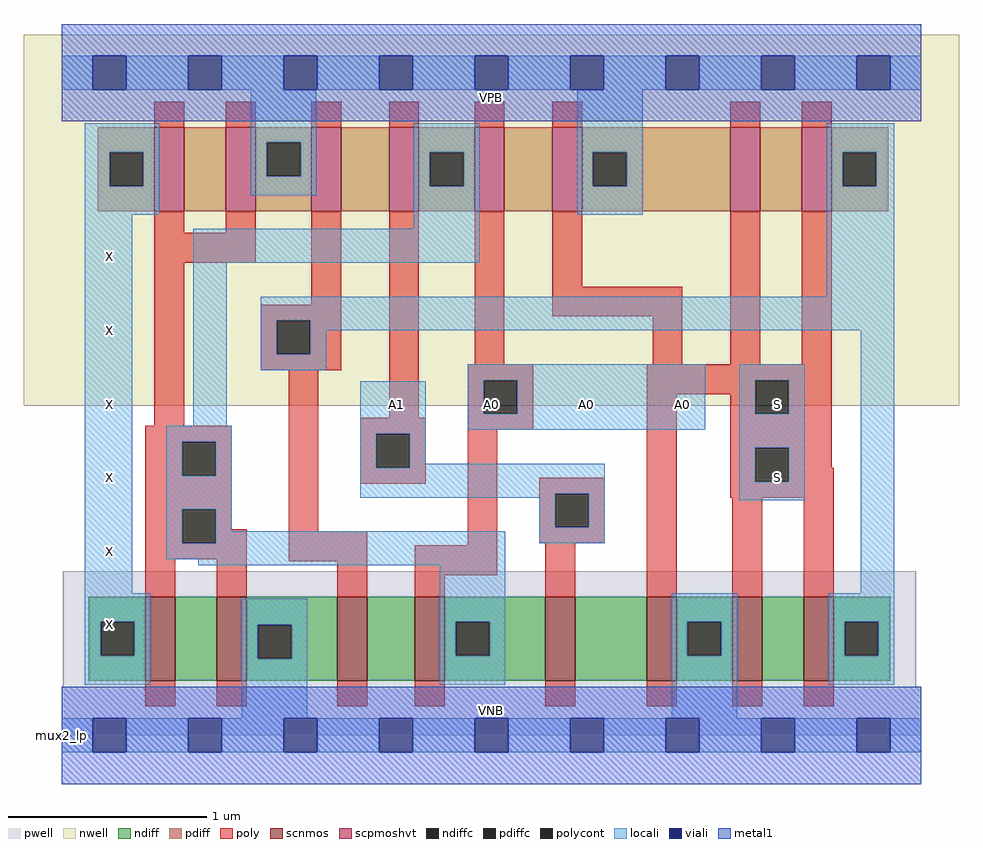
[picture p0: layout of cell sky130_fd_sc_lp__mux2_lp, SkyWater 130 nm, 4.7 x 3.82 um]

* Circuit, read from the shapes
.subckt sky130_fd_sc_lp__mux2_lp A0 A1 S VGND VNB VPB VPWR X
XM1 n1 n2 X VNB sky130_fd_pr__nfet_01v8 w=0.42 l=0.15
XM2 VGND n2 n1 VNB sky130_fd_pr__nfet_01v8 w=0.42 l=0.15
XM3 n3 n4 VGND VNB sky130_fd_pr__nfet_01v8 w=0.42 l=0.15
XM4 n2 A0 n3 VNB sky130_fd_pr__nfet_01v8 w=0.42 l=0.15
XM5 n5 A1 n2 VNB sky130_fd_pr__nfet_01v8 w=0.42 l=0.15
XM6 VGND S n5 VNB sky130_fd_pr__nfet_01v8 w=0.42 l=0.15
XM7 n6 S VGND VNB sky130_fd_pr__nfet_01v8 w=0.42 l=0.15
XM8 n4 S n6 VNB sky130_fd_pr__nfet_01v8 w=0.42 l=0.15
XM9 n7 n2 X VPB sky130_fd_pr__pfet_01v8_hvt w=0.42 l=0.15
XM10 VPWR n2 n7 VPB sky130_fd_pr__pfet_01v8_hvt w=0.42 l=0.15
XM11 n8 n4 VPWR VPB sky130_fd_pr__pfet_01v8_hvt w=0.42 l=0.15
XM12 n2 A1 n8 VPB sky130_fd_pr__pfet_01v8_hvt w=0.42 l=0.15
XM13 n9 A0 n2 VPB sky130_fd_pr__pfet_01v8_hvt w=0.42 l=0.15
XM14 VPWR S n9 VPB sky130_fd_pr__pfet_01v8_hvt w=0.42 l=0.15
XM15 n10 S VPWR VPB sky130_fd_pr__pfet_01v8_hvt w=0.42 l=0.15
XM16 n4 S n10 VPB sky130_fd_pr__pfet_01v8_hvt w=0.42 l=0.15
.ends

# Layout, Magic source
magic
tech sky130A
magscale 1 2
<< nwell >>
rect -38 331 902 704
<< pwell >>
rect 1 49 859 165
rect 0 0 864 49
<< scnmos >>
rect 84 55 114 139
rect 156 55 186 139
rect 277 55 307 139
rect 355 55 385 139
rect 486 55 516 139
rect 588 55 618 139
rect 674 55 704 139
rect 746 55 776 139
<< scpmoshvt >>
rect 93 527 123 611
rect 165 527 195 611
rect 251 527 281 611
rect 329 527 359 611
rect 415 527 445 611
rect 493 527 523 611
rect 672 527 702 611
rect 744 527 774 611
<< ndiff >>
rect 27 114 84 139
rect 27 80 39 114
rect 73 80 84 114
rect 27 55 84 80
rect 114 55 156 139
rect 186 111 277 139
rect 186 77 197 111
rect 231 77 277 111
rect 186 55 277 77
rect 307 55 355 139
rect 385 114 486 139
rect 385 80 396 114
rect 430 80 486 114
rect 385 55 486 80
rect 516 55 588 139
rect 618 114 674 139
rect 618 80 629 114
rect 663 80 674 114
rect 618 55 674 80
rect 704 55 746 139
rect 776 114 833 139
rect 776 80 787 114
rect 821 80 833 114
rect 776 55 833 80
<< pdiff >>
rect 36 586 93 611
rect 36 552 48 586
rect 82 552 93 586
rect 36 527 93 552
rect 123 527 165 611
rect 195 596 251 611
rect 195 562 206 596
rect 240 562 251 596
rect 195 527 251 562
rect 281 527 329 611
rect 359 586 415 611
rect 359 552 370 586
rect 404 552 415 586
rect 359 527 415 552
rect 445 527 493 611
rect 523 586 672 611
rect 523 552 534 586
rect 568 552 672 586
rect 523 527 672 552
rect 702 527 744 611
rect 774 586 831 611
rect 774 552 785 586
rect 819 552 831 586
rect 774 527 831 552
<< ndiffc >>
rect 39 80 73 114
rect 197 77 231 111
rect 396 80 430 114
rect 629 80 663 114
rect 787 80 821 114
<< pdiffc >>
rect 48 552 82 586
rect 206 562 240 596
rect 370 552 404 586
rect 534 552 568 586
rect 785 552 819 586
<< poly >>
rect 93 611 123 637
rect 165 611 195 637
rect 251 611 281 637
rect 329 611 359 637
rect 415 611 445 637
rect 493 611 523 637
rect 672 611 702 637
rect 744 611 774 637
rect 93 505 123 527
rect 165 505 195 527
rect 93 475 195 505
rect 93 311 123 475
rect 251 433 281 527
rect 200 417 281 433
rect 200 383 216 417
rect 250 383 281 417
rect 200 367 281 383
rect 84 295 171 311
rect 84 261 121 295
rect 155 261 171 295
rect 84 227 171 261
rect 84 193 121 227
rect 155 207 171 227
rect 155 193 186 207
rect 84 177 186 193
rect 84 139 114 177
rect 156 139 186 177
rect 228 205 258 367
rect 329 319 359 527
rect 415 373 445 527
rect 493 451 523 527
rect 493 421 624 451
rect 594 373 624 421
rect 672 373 702 527
rect 744 373 774 527
rect 408 357 474 373
rect 408 323 424 357
rect 458 323 474 357
rect 300 303 366 319
rect 300 269 316 303
rect 350 269 366 303
rect 300 253 366 269
rect 408 307 474 323
rect 588 357 774 373
rect 588 343 697 357
rect 228 175 307 205
rect 408 191 438 307
rect 480 243 546 259
rect 480 209 496 243
rect 530 209 546 243
rect 480 193 546 209
rect 277 139 307 175
rect 355 161 438 191
rect 355 139 385 161
rect 486 139 516 193
rect 588 139 618 343
rect 672 323 697 343
rect 731 323 774 357
rect 672 289 774 323
rect 672 255 697 289
rect 731 269 774 289
rect 731 255 776 269
rect 672 239 776 255
rect 674 139 704 239
rect 746 139 776 239
rect 84 29 114 55
rect 156 29 186 55
rect 277 29 307 55
rect 355 29 385 55
rect 486 29 516 55
rect 588 29 618 55
rect 674 29 704 55
rect 746 29 776 55
<< polycont >>
rect 216 383 250 417
rect 121 261 155 295
rect 121 193 155 227
rect 424 323 458 357
rect 316 269 350 303
rect 496 209 530 243
rect 697 323 731 357
rect 697 255 731 289
<< locali >>
rect 0 649 31 683
rect 65 649 127 683
rect 161 649 223 683
rect 257 649 319 683
rect 353 649 415 683
rect 449 649 511 683
rect 545 649 607 683
rect 641 649 703 683
rect 737 649 799 683
rect 833 649 864 683
rect 23 586 98 615
rect 23 552 48 586
rect 82 552 98 586
rect 23 523 98 552
rect 190 596 256 649
rect 190 562 206 596
rect 240 562 256 596
rect 190 543 256 562
rect 354 586 420 615
rect 354 552 370 586
rect 404 552 420 586
rect 23 143 71 523
rect 354 509 420 552
rect 518 586 584 649
rect 518 552 534 586
rect 568 552 584 586
rect 518 523 584 552
rect 769 586 837 615
rect 769 552 785 586
rect 819 552 837 586
rect 132 475 420 509
rect 132 311 166 475
rect 769 441 837 552
rect 200 417 837 441
rect 200 383 216 417
rect 250 407 837 417
rect 250 383 266 407
rect 200 367 266 383
rect 408 357 647 373
rect 105 295 171 311
rect 105 261 121 295
rect 155 261 171 295
rect 105 227 171 261
rect 300 303 366 356
rect 408 323 424 357
rect 458 323 647 357
rect 408 307 647 323
rect 681 357 747 373
rect 681 323 697 357
rect 731 323 747 357
rect 300 269 316 303
rect 350 273 366 303
rect 681 289 747 323
rect 350 269 546 273
rect 300 243 546 269
rect 300 239 496 243
rect 105 193 121 227
rect 155 205 171 227
rect 480 209 496 239
rect 530 209 546 243
rect 681 255 697 289
rect 731 255 747 289
rect 681 236 747 255
rect 155 193 446 205
rect 480 193 546 209
rect 105 177 446 193
rect 137 171 446 177
rect 23 114 89 143
rect 23 80 39 114
rect 73 80 89 114
rect 23 51 89 80
rect 181 111 247 137
rect 181 77 197 111
rect 231 77 247 111
rect 181 17 247 77
rect 380 114 446 171
rect 803 143 837 407
rect 380 80 396 114
rect 430 80 446 114
rect 380 51 446 80
rect 613 114 679 143
rect 613 80 629 114
rect 663 80 679 114
rect 613 17 679 80
rect 771 114 837 143
rect 771 80 787 114
rect 821 80 837 114
rect 771 51 837 80
rect 0 -17 31 17
rect 65 -17 127 17
rect 161 -17 223 17
rect 257 -17 319 17
rect 353 -17 415 17
rect 449 -17 511 17
rect 545 -17 607 17
rect 641 -17 703 17
rect 737 -17 799 17
rect 833 -17 864 17
<< viali >>
rect 31 649 65 683
rect 127 649 161 683
rect 223 649 257 683
rect 319 649 353 683
rect 415 649 449 683
rect 511 649 545 683
rect 607 649 641 683
rect 703 649 737 683
rect 799 649 833 683
rect 31 -17 65 17
rect 127 -17 161 17
rect 223 -17 257 17
rect 319 -17 353 17
rect 415 -17 449 17
rect 511 -17 545 17
rect 607 -17 641 17
rect 703 -17 737 17
rect 799 -17 833 17
<< metal1 >>
rect 0 683 864 715
rect 0 649 31 683
rect 65 649 127 683
rect 161 649 223 683
rect 257 649 319 683
rect 353 649 415 683
rect 449 649 511 683
rect 545 649 607 683
rect 641 649 703 683
rect 737 649 799 683
rect 833 649 864 683
rect 0 617 864 649
rect 0 17 864 49
rect 0 -17 31 17
rect 65 -17 127 17
rect 161 -17 223 17
rect 257 -17 319 17
rect 353 -17 415 17
rect 449 -17 511 17
rect 545 -17 607 17
rect 641 -17 703 17
rect 737 -17 799 17
rect 833 -17 864 17
rect 0 -49 864 -17
<< labels >>
flabel pwell s 0 0 864 49 0 FreeSans 200 0 0 0 VNB
port 5 nsew ground bidirectional
flabel nwell s 0 617 864 666 0 FreeSans 200 0 0 0 VPB
port 6 nsew power bidirectional
rlabel comment s 0 0 0 0 4 mux2_lp
flabel metal1 s 0 617 864 666 0 FreeSans 340 0 0 0 VPWR
port 7 nsew power bidirectional
flabel metal1 s 0 0 864 49 0 FreeSans 340 0 0 0 VGND
port 4 nsew ground bidirectional
flabel locali s 703 242 737 276 0 FreeSans 340 0 0 0 S
port 3 nsew signal input
flabel locali s 703 316 737 350 0 FreeSans 340 0 0 0 S
port 3 nsew signal input
flabel locali s 415 316 449 350 0 FreeSans 340 0 0 0 A0
port 1 nsew signal input
flabel locali s 511 316 545 350 0 FreeSans 340 0 0 0 A0
port 1 nsew signal input
flabel locali s 607 316 641 350 0 FreeSans 340 0 0 0 A0
port 1 nsew signal input
flabel locali s 31 94 65 128 0 FreeSans 340 0 0 0 X
port 8 nsew signal output
flabel locali s 31 168 65 202 0 FreeSans 340 0 0 0 X
port 8 nsew signal output
flabel locali s 31 242 65 276 0 FreeSans 340 0 0 0 X
port 8 nsew signal output
flabel locali s 31 316 65 350 0 FreeSans 340 0 0 0 X
port 8 nsew signal output
flabel locali s 31 390 65 424 0 FreeSans 340 0 0 0 X
port 8 nsew signal output
flabel locali s 31 464 65 498 0 FreeSans 340 0 0 0 X
port 8 nsew signal output
flabel locali s 319 316 353 350 0 FreeSans 340 0 0 0 A1
port 2 nsew signal input
<< properties >>
string LEFsite unit
string LEFclass CORE
string FIXED_BBOX 0 0 864 666
string GDS_FILE $PDKPATH/libs.ref/sky130_fd_sc_lp/gds/sky130_fd_sc_lp.gds
string LEFsymmetry X Y R90
string GDS_END 1678270
string GDS_START 1671032
<< end >>
